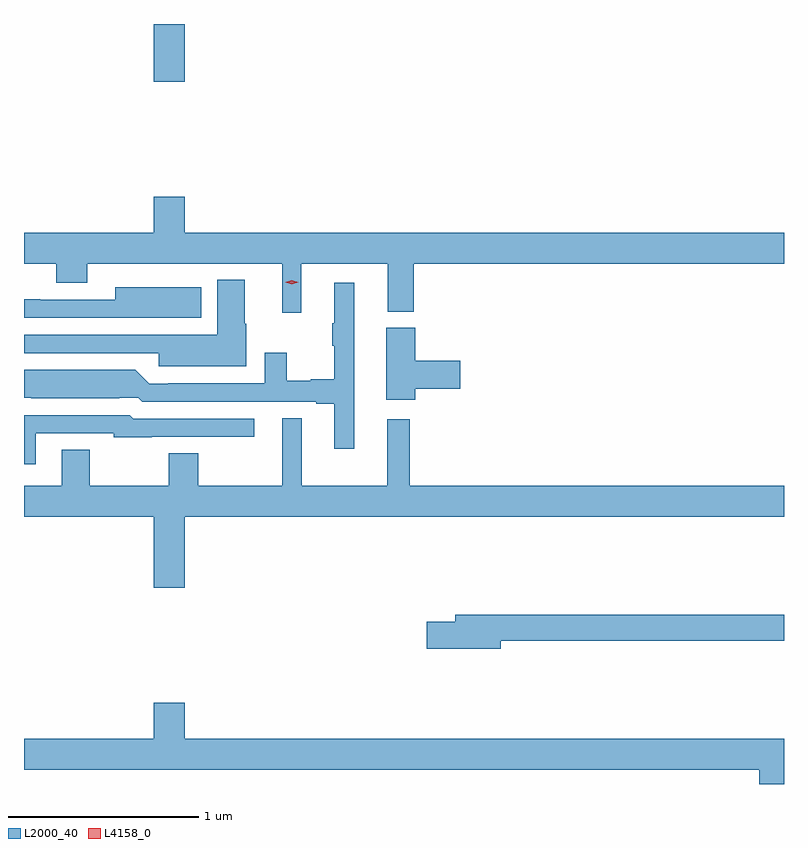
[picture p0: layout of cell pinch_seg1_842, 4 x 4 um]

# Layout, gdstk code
import gdstk
lib = gdstk.Library(unit=1e-6, precision=1e-09)
def R(c, l, rs):  # rectangles x0, y0, x1, y1
    for r in rs: c.add(gdstk.rectangle(r[:2], r[2:], *l))
def P(c, l, *ps):  # polygons
    for p in ps: c.add(gdstk.Polygon(p, *l))
L2000_40 = (2000, 40)
L4158_0 = (4158, 0)

pinch_seg1_842 = lib.new_cell('pinch_seg1_842')
R(pinch_seg1_842, L2000_40, [(464.708,530.046,464.872,530.35)])
P(pinch_seg1_842, L2000_40, [(465.484,529.088),(465.941,529.088),(465.941,528.836),(466.076,528.836),(466.076,529.088),(468.026,529.088),(468.026,529.252),(464.872,529.252),(464.872,529.441),(464.708,529.441),(464.708,529.252),(464.026,529.252),(464.026,529.088),(464.195,529.088),(464.195,528.989),(464.36,528.989),(464.36,529.088),(465.386,529.088),(465.386,528.831),(465.484,528.831)],
  [(465.195,528.773),(465.187,528.773),(465.187,529.003),(465.044,529.003),(465.044,528.715),(464.827,528.715),(464.827,528.714),(464.026,528.714),(464.026,528.618),(464.734,528.618),(464.734,528.548),(465.195,528.548)],
  [(465.763,528.988),(465.659,528.988),(465.659,528.775),(465.649,528.775),(465.649,528.656),(465.659,528.656),(465.659,528.479),(465.534,528.479),(465.534,528.472),(465.409,528.472),(465.409,528.619),(465.293,528.619),(465.293,528.459),(464.785,528.459),(464.785,528.456),(464.685,528.456),(464.612,528.529),(464.026,528.529),(464.026,528.384),(464.065,528.384),(464.065,528.38),(464.528,528.38),(464.528,528.384),(464.628,528.384),(464.649,528.363),(465.563,528.363),(465.563,528.351),(465.659,528.351),(465.659,528.114),(465.763,528.114)],
  [(464.959,528.964),(464.507,528.964),(464.507,528.9),(464.111,528.9),(464.111,528.902),(464.026,528.902),(464.026,528.804),(464.611,528.804),(464.611,528.803),(464.959,528.803)],
  [(466.085,528.431),(466.321,528.431),(466.321,528.578),(466.085,528.578),(466.085,528.751),(465.932,528.751),(465.932,528.372),(466.085,528.372)],
  [(464.089,528.195),(464.499,528.195),(464.499,528.175),(464.699,528.175),(464.699,528.177),(465.238,528.177),(465.238,528.273),(464.601,528.273),(464.583,528.291),(464.026,528.291),(464.026,528.033),(464.089,528.033)],
  [(464.872,527.756),(468.026,527.756),(468.026,527.92),(466.055,527.92),(466.055,528.271),(465.938,528.271),(465.938,527.92),(465.487,527.92),(465.487,528.274),(465.386,528.274),(465.386,527.92),(464.943,527.92),(464.943,528.092),(464.788,528.092),(464.788,527.92),(464.373,527.92),(464.373,528.11),(464.225,528.11),(464.225,527.92),(464.026,527.92),(464.026,527.756),(464.708,527.756),(464.708,527.382),(464.872,527.382)],
  [(466.534,527.104),(468.026,527.104),(468.026,527.24),(466.295,527.24),(466.295,527.204),(466.146,527.204),(466.146,527.062),(466.534,527.062)],
  [(468.026,526.588),(464.872,526.588),(464.872,526.777),(464.708,526.777),(464.708,526.588),(464.026,526.588),(464.026,526.424),(467.897,526.424),(467.897,526.35),(468.026,526.35)])
P(pinch_seg1_842, L4158_0, [(465.435,528.981),(465.4,528.991),(465.4,528.991),(465.4,528.992),(465.435,529.002),(465.47,528.992),(465.47,528.991),(465.47,528.991)])

lib.write_gds('pinch_seg1_842.gds')
